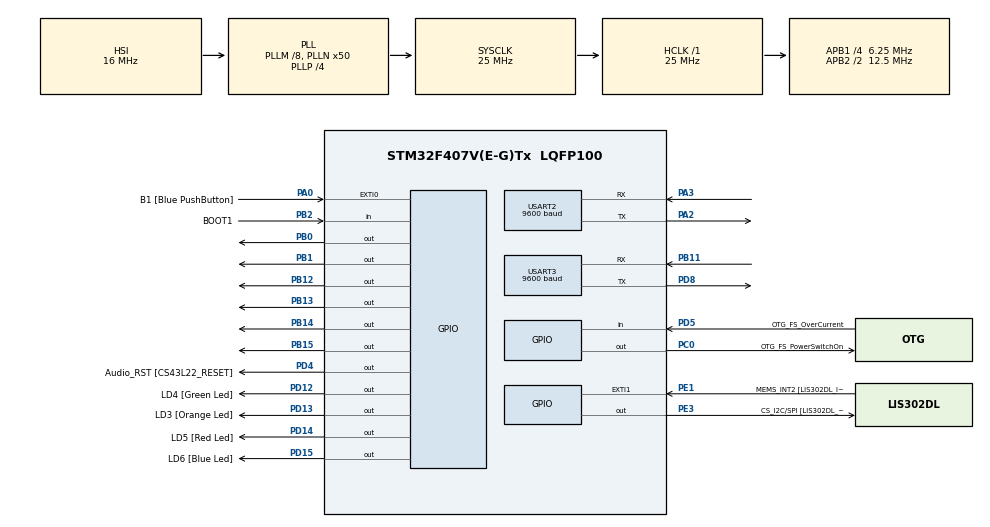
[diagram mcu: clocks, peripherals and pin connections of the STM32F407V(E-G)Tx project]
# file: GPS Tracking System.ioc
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Mcu.Family=STM32F4
Mcu.Name=STM32F407V(E-G)Tx
Mcu.Package=LQFP100
NVIC.PriorityGroup=NVIC_PRIORITYGROUP_0
NVIC.USART2_IRQn=true\:0\:0\:false\:false\:true\:true\:true\:true
PA0-WKUP.GPIO_Label=B1 [Blue PushButton]
PA0-WKUP.Signal=GPXTI0
PA10.GPIO_Label=OTG_FS_ID
PA10.GPIO_Mode=GPIO_MODE_AF_PP
PA10.GPIO_PuPd=GPIO_NOPULL
PA10.GPIO_Speed=GPIO_SPEED_FREQ_LOW
PA10.Signal=USB_OTG_FS_ID
PA11.GPIO_Label=OTG_FS_DM
PA11.GPIO_Mode=GPIO_MODE_AF_PP
PA11.GPIO_PuPd=GPIO_NOPULL
PA11.GPIO_Speed=GPIO_SPEED_FREQ_LOW
PA11.Signal=USB_OTG_FS_DM
PA12.GPIO_Label=OTG_FS_DP
PA12.GPIO_Mode=GPIO_MODE_AF_PP
PA12.GPIO_PuPd=GPIO_NOPULL
PA12.GPIO_Speed=GPIO_SPEED_FREQ_LOW
PA12.Signal=USB_OTG_FS_DP
PA13.GPIO_Label=SWDIO
PA13.Signal=SYS_JTMS-SWDIO
PA14.GPIO_Label=SWCLK
PA14.Signal=SYS_JTCK-SWCLK
PA2.Mode=Asynchronous
PA2.Signal=USART2_TX
PA3.Mode=Asynchronous
PA3.Signal=USART2_RX
PA4.GPIO_Label=I2S3_WS [CS43L22_LRCK]
PA4.GPIO_Mode=GPIO_MODE_AF_PP
PA4.GPIO_PuPd=GPIO_NOPULL
PA4.GPIO_Speed=GPIO_SPEED_FREQ_LOW
PA4.Signal=I2S3_WS
PA5.GPIO_Label=SPI1_SCK [LIS302DL_SCL/SPC]
PA5.GPIO_Mode=GPIO_MODE_AF_PP
PA5.GPIO_PuPd=GPIO_NOPULL
PA5.GPIO_Speed=GPIO_SPEED_FREQ_LOW
PA5.Signal=SPI1_SCK
PA6.GPIO_Label=SPI1_MISO [LIS302DL_SDO]
PA6.GPIO_Mode=GPIO_MODE_AF_PP
PA6.GPIO_PuPd=GPIO_NOPULL
PA6.GPIO_Speed=GPIO_SPEED_FREQ_LOW
PA6.Signal=SPI1_MISO
PA7.GPIO_Label=SPI1_MOSI [LIS302DL_SDA/SDI/SDO]
PA7.GPIO_Mode=GPIO_MODE_AF_PP
PA7.GPIO_PuPd=GPIO_NOPULL
PA7.GPIO_Speed=GPIO_SPEED_FREQ_LOW
PA7.Signal=SPI1_MOSI
PA9.GPIO_Label=VBUS_FS
PA9.GPIO_Mode=GPIO_MODE_INPUT
PA9.GPIO_PuPd=GPIO_NOPULL
PA9.Signal=USB_OTG_FS_VBUS
PB0.GPIO_ModeDefaultOutputPP=GPIO_MODE_OUTPUT_PP
PB0.Signal=GPIO_Output
PB1.Signal=GPIO_Output
PB10.GPIO_Label=CLK_IN [MP45DT02_CLK]
PB10.GPIO_Mode=GPIO_MODE_AF_PP
PB10.GPIO_PuPd=GPIO_NOPULL
PB10.GPIO_Speed=GPIO_SPEED_FREQ_LOW
PB10.Signal=I2S2_CK
PB11.Mode=Asynchronous
PB11.Signal=USART3_RX
PB12.Signal=GPIO_Output
PB13.Signal=GPIO_Output
PB14.Signal=GPIO_Output
PB15.Signal=GPIO_Output
PB2.GPIO_Label=BOOT1
PB2.GPIO_Mode=GPIO_MODE_INPUT
PB2.GPIO_PuPd=GPIO_NOPULL
PB2.Signal=GPIO_Input
PB3.GPIO_Label=SWO
PB3.Signal=SYS_JTDO-SWO
PB6.GPIO_Label=Audio_SCL [CS43L22_SCL]
PB6.GPIO_Mode=GPIO_MODE_AF_OD
PB6.GPIO_PuPd=GPIO_NOPULL
PB6.GPIO_Speed=GPIO_SPEED_FREQ_LOW
PB6.Signal=I2C1_SCL
PB9.GPIO_Label=Audio_SDA [CS43L22_SDA]
PB9.GPIO_Mode=GPIO_MODE_AF_OD
PB9.GPIO_PuPd=GPIO_NOPULL
PB9.GPIO_Speed=GPIO_SPEED_FREQ_LOW
PB9.Signal=I2C1_SDA
PC0.GPIO_Label=OTG_FS_PowerSwitchOn
PC0.GPIO_PuPd=GPIO_NOPULL
PC0.GPIO_Speed=GPIO_SPEED_FREQ_LOW
PC0.PinState=GPIO_PIN_SET
PC0.Signal=GPIO_Output
PC10.GPIO_Label=I2S3_SCK [CS43L22_SCLK]
PC10.GPIO_Mode=GPIO_MODE_AF_PP
PC10.GPIO_PuPd=GPIO_NOPULL
PC10.GPIO_Speed=GPIO_SPEED_FREQ_LOW
PC10.Signal=I2S3_CK
PC12.GPIO_Label=I2S3_SD [CS43L22_SDIN]
PC12.GPIO_Mode=GPIO_MODE_AF_PP
PC12.GPIO_PuPd=GPIO_NOPULL
PC12.GPIO_Speed=GPIO_SPEED_FREQ_LOW
PC12.Signal=I2S3_SD
PC14-OSC32_IN.GPIO_Label=PC14-OSC32_IN
PC14-OSC32_IN.Signal=RCC_OSC32_IN
PC15-OSC32_OUT.GPIO_Label=PC15-OSC32_OUT
PC15-OSC32_OUT.Signal=RCC_OSC32_OUT
PC3.GPIO_Label=PDM_OUT [MP45DT02_DOUT]
PC3.GPIO_Mode=GPIO_MODE_AF_PP
PC3.GPIO_PuPd=GPIO_NOPULL
PC3.GPIO_Speed=GPIO_SPEED_FREQ_LOW
PC3.Signal=I2S2_SD
PC7.GPIO_Label=I2S3_MCK [CS43L22_MCLK]
PC7.GPIO_Mode=GPIO_MODE_AF_PP
PC7.GPIO_PuPd=GPIO_NOPULL
PC7.GPIO_Speed=GPIO_SPEED_FREQ_LOW
PC7.Signal=I2S3_MCK
PD12.GPIO_Label=LD4 [Green Led]
PD12.GPIO_PuPd=GPIO_NOPULL
PD12.GPIO_Speed=GPIO_SPEED_FREQ_LOW
PD12.Signal=GPIO_Output
PD13.GPIO_Label=LD3 [Orange Led]
PD13.GPIO_PuPd=GPIO_NOPULL
PD13.GPIO_Speed=GPIO_SPEED_FREQ_LOW
PD13.Signal=GPIO_Output
PD14.GPIO_Label=LD5 [Red Led]
PD14.GPIO_PuPd=GPIO_NOPULL
PD14.GPIO_Speed=GPIO_SPEED_FREQ_LOW
PD14.Signal=GPIO_Output
PD15.GPIO_Label=LD6 [Blue Led]
PD15.GPIO_PuPd=GPIO_NOPULL
PD15.GPIO_Speed=GPIO_SPEED_FREQ_LOW
PD15.Signal=GPIO_Output
PD4.GPIO_Label=Audio_RST [CS43L22_RESET]
PD4.GPIO_PuPd=GPIO_NOPULL
PD4.GPIO_Speed=GPIO_SPEED_FREQ_LOW
PD4.Signal=GPIO_Output
PD5.GPIO_Label=OTG_FS_OverCurrent
PD5.GPIO_Mode=GPIO_MODE_INPUT
PD5.GPIO_PuPd=GPIO_NOPULL
PD5.Signal=GPIO_Input
PD8.Mode=Asynchronous
PD8.Signal=USART3_TX
PE1.GPIO_Label=MEMS_INT2 [LIS302DL_INT2]
PE1.GPIO_ModeDefaultEXTI=GPIO_MODE_EVT_RISING
PE1.GPIO_PuPd=GPIO_NOPULL
PE1.Signal=GPXTI1
PE3.GPIO_Label=CS_I2C/SPI [LIS302DL_CS_I2C/SPI]
PE3.GPIO_PuPd=GPIO_NOPULL
PE3.GPIO_Speed=GPIO_SPEED_FREQ_LOW
PE3.Signal=GPIO_Output
PH0-OSC_IN.GPIO_Label=PH0-OSC_IN
PH0-OSC_IN.Signal=RCC_OSC_IN
PH1-OSC_OUT.GPIO_Label=PH1-OSC_OUT
PH1-OSC_OUT.Signal=RCC_OSC_OUT
ProjectManager.HeapSize=0x200
ProjectManager.StackSize=0x400
ProjectManager.TargetToolchain=STM32CubeIDE
RCC.48MHZClocksFreq_Value=14285714.285714285
RCC.AHBFreq_Value=25000000
RCC.APB1CLKDivider=RCC_HCLK_DIV4
RCC.APB1Freq_Value=6250000
RCC.APB1TimFreq_Value=12500000
RCC.APB2CLKDivider=RCC_HCLK_DIV2
RCC.APB2Freq_Value=12500000
RCC.APB2TimFreq_Value=25000000
RCC.CortexFreq_Value=25000000
RCC.HCLKFreq_Value=25000000
RCC.HSE_VALUE=8000000
RCC.HSI_VALUE=16000000
RCC.LSE_VALUE=32768
RCC.PLLM=8
RCC.PLLN=50
RCC.PLLP=RCC_PLLP_DIV4
RCC.PLLQ=7
RCC.SYSCLKFreq_VALUE=25000000
RCC.SYSCLKSource=RCC_SYSCLKSOURCE_PLLCLK
RCC.VCOOutputFreq_Value=100000000
USART2.BaudRate=9600
USART2.VirtualMode=VM_ASYNC
USART3.BaudRate=9600
USART3.VirtualMode=VM_ASYNC
board=STM32F407G-DISC1

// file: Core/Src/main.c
/* USER CODE BEGIN Header */
/**
  ******************************************************************************
  * @file           : main.c
  * @brief          : Main program body
  ******************************************************************************
  * @attention
  *
  * Copyright (c) 2026 STMicroelectronics.
  * All rights reserved.
  *
  * This software is licensed under terms that can be found in the LICENSE file
  * in the root directory of this software component.
  * If no LICENSE file comes with this software, it is provided AS-IS.
  *
  ******************************************************************************
  */
/* USER CODE END Header */
#include "main.h"

/* USER CODE BEGIN Includes */
#include "gps.h"
#include "lcd.h"
#include <stdio.h>
#include <string.h>
/* USER CODE END Includes */

UART_HandleTypeDef huart2;
UART_HandleTypeDef huart3;

/* USER CODE BEGIN PV */
GPS_Data_t gps;
/* USER CODE END PV */

void SystemClock_Config(void);
static void MX_GPIO_Init(void);
static void MX_USART2_UART_Init(void);
static void MX_USART3_UART_Init(void);

int main(void)
{

  /* MCU Configuration--------------------------------------------------------*/

  /* Reset of all peripherals, Initializes the Flash interface and the Systick. */
 HAL_Init();

  /* Configure the system clock */
  SystemClock_Config();

  /* Initialize all configured peripherals */
  MX_GPIO_Init();
  MX_USART2_UART_Init();
  MX_USART3_UART_Init();
  /* USER CODE BEGIN 2 */
  LCD_Init();
  GPS_Init(&huart2);

  char buffer[32];
  /* USER CODE END 2 */

  /* Infinite loop */
  /* USER CODE BEGIN WHILE */
  while (1)
  {
	  if (GPS_GetData(&gps)) {
		  LCD_SendCommand(0x01);
		      HAL_Delay(5);

		      LCD_SetCursor(0,0);
		      sprintf(buffer, "Lat: %.4f   ", gps.latitude);
		      LCD_Print(buffer);

		      LCD_SetCursor(1,0);
		      sprintf(buffer, "Lon: %.4f   ", gps.longitude);
		      LCD_Print(buffer);

		      // Send to ESP
		      sprintf(buffer, "%.6f,%.6f\n", gps.latitude, gps.longitude);
		      HAL_UART_Transmit(&huart3, (uint8_t*)buffer, strlen(buffer), 100);

		      HAL_Delay(1000);
	  	  }
	  }
    /* USER CODE END WHILE */

  }

void SystemClock_Config(void)
{
  RCC_OscInitTypeDef RCC_OscInitStruct = {0};
  RCC_ClkInitTypeDef RCC_ClkInitStruct = {0};

  /** Configure the main internal regulator output voltage
  */
  __HAL_RCC_PWR_CLK_ENABLE();
  __HAL_PWR_VOLTAGESCALING_CONFIG(PWR_REGULATOR_VOLTAGE_SCALE1);

  /** Initializes the RCC Oscillators according to the specified parameters
  * in the RCC_OscInitTypeDef structure.
  */
  RCC_OscInitStruct.OscillatorType = RCC_OSCILLATORTYPE_HSI;
  RCC_OscInitStruct.HSIState = RCC_HSI_ON;
  RCC_OscInitStruct.HSICalibrationValue = RCC_HSICALIBRATION_DEFAULT;
  RCC_OscInitStruct.PLL.PLLState = RCC_PLL_ON;
  RCC_OscInitStruct.PLL.PLLSource = RCC_PLLSOURCE_HSI;
  RCC_OscInitStruct.PLL.PLLM = 8;
  RCC_OscInitStruct.PLL.PLLN = 50;
  RCC_OscInitStruct.PLL.PLLP = RCC_PLLP_DIV4;
  RCC_OscInitStruct.PLL.PLLQ = 7;
  if (HAL_RCC_OscConfig(&RCC_OscInitStruct) != HAL_OK)
  {
    Error_Handler();
  }

  /** Initializes the CPU, AHB and APB buses clocks
  */
  RCC_ClkInitStruct.ClockType = RCC_CLOCKTYPE_HCLK|RCC_CLOCKTYPE_SYSCLK
                              |RCC_CLOCKTYPE_PCLK1|RCC_CLOCKTYPE_PCLK2;
  RCC_ClkInitStruct.SYSCLKSource = RCC_SYSCLKSOURCE_PLLCLK;
  RCC_ClkInitStruct.AHBCLKDivider = RCC_SYSCLK_DIV1;
  RCC_ClkInitStruct.APB1CLKDivider = RCC_HCLK_DIV4;
  RCC_ClkInitStruct.APB2CLKDivider = RCC_HCLK_DIV2;

  if (HAL_RCC_ClockConfig(&RCC_ClkInitStruct, FLASH_LATENCY_0) != HAL_OK)
  {
    Error_Handler();
  }
}

static void MX_USART2_UART_Init(void)
{

  huart2.Instance = USART2;
  huart2.Init.BaudRate = 9600;
  huart2.Init.WordLength = UART_WORDLENGTH_8B;
  huart2.Init.StopBits = UART_STOPBITS_1;
  huart2.Init.Parity = UART_PARITY_NONE;
  huart2.Init.Mode = UART_MODE_TX_RX;
  huart2.Init.HwFlowCtl = UART_HWCONTROL_NONE;
  huart2.Init.OverSampling = UART_OVERSAMPLING_16;
  if (HAL_UART_Init(&huart2) != HAL_OK)
  {
    Error_Handler();
  }

}

static void MX_USART3_UART_Init(void)
{

  huart3.Instance = USART3;
  huart3.Init.BaudRate = 9600;
  huart3.Init.WordLength = UART_WORDLENGTH_8B;
  huart3.Init.StopBits = UART_STOPBITS_1;
  huart3.Init.Parity = UART_PARITY_NONE;
  huart3.Init.Mode = UART_MODE_TX_RX;
  huart3.Init.HwFlowCtl = UART_HWCONTROL_NONE;
  huart3.Init.OverSampling = UART_OVERSAMPLING_16;
  if (HAL_UART_Init(&huart3) != HAL_OK)
  {
    Error_Handler();
  }

}

static void MX_GPIO_Init(void)
{
  GPIO_InitTypeDef GPIO_InitStruct = {0};

  /* GPIO Ports Clock Enable */
  __HAL_RCC_GPIOE_CLK_ENABLE();
  __HAL_RCC_GPIOC_CLK_ENABLE();
  __HAL_RCC_GPIOH_CLK_ENABLE();
  __HAL_RCC_GPIOA_CLK_ENABLE();
  __HAL_RCC_GPIOB_CLK_ENABLE();
  __HAL_RCC_GPIOD_CLK_ENABLE();

  /*Configure GPIO pin Output Level */
  HAL_GPIO_WritePin(CS_I2C_SPI_GPIO_Port, CS_I2C_SPI_Pin, GPIO_PIN_RESET);

  /*Configure GPIO pin Output Level */
  HAL_GPIO_WritePin(OTG_FS_PowerSwitchOn_GPIO_Port, OTG_FS_PowerSwitchOn_Pin, GPIO_PIN_SET);

  /*Configure GPIO pin Output Level */
  HAL_GPIO_WritePin(GPIOB, GPIO_PIN_0|GPIO_PIN_1|GPIO_PIN_12|GPIO_PIN_13
                          |GPIO_PIN_14|GPIO_PIN_15, GPIO_PIN_RESET);

  /*Configure GPIO pin Output Level */
  HAL_GPIO_WritePin(GPIOD, LD4_Pin|LD3_Pin|LD5_Pin|LD6_Pin
                          |Audio_RST_Pin, GPIO_PIN_RESET);

  /*Configure GPIO pin : CS_I2C_SPI_Pin */
  GPIO_InitStruct.Pin = CS_I2C_SPI_Pin;
  GPIO_InitStruct.Mode = GPIO_MODE_OUTPUT_PP;
  GPIO_InitStruct.Pull = GPIO_NOPULL;
  GPIO_InitStruct.Speed = GPIO_SPEED_FREQ_LOW;
  HAL_GPIO_Init(CS_I2C_SPI_GPIO_Port, &GPIO_InitStruct);

  /*Configure GPIO pin : OTG_FS_PowerSwitchOn_Pin */
  GPIO_InitStruct.Pin = OTG_FS_PowerSwitchOn_Pin;
  GPIO_InitStruct.Mode = GPIO_MODE_OUTPUT_PP;
  GPIO_InitStruct.Pull = GPIO_NOPULL;
  GPIO_InitStruct.Speed = GPIO_SPEED_FREQ_LOW;
  HAL_GPIO_Init(OTG_FS_PowerSwitchOn_GPIO_Port, &GPIO_InitStruct);

  /*Configure GPIO pin : PDM_OUT_Pin */
  GPIO_InitStruct.Pin = PDM_OUT_Pin;
  GPIO_InitStruct.Mode = GPIO_MODE_AF_PP;
  GPIO_InitStruct.Pull = GPIO_NOPULL;
  GPIO_InitStruct.Speed = GPIO_SPEED_FREQ_LOW;
  GPIO_InitStruct.Alternate = GPIO_AF5_SPI2;
  HAL_GPIO_Init(PDM_OUT_GPIO_Port, &GPIO_InitStruct);

  /*Configure GPIO pin : B1_Pin */
  GPIO_InitStruct.Pin = B1_Pin;
  GPIO_InitStruct.Mode = GPIO_MODE_IT_RISING;
  GPIO_InitStruct.Pull = GPIO_NOPULL;
  HAL_GPIO_Init(B1_GPIO_Port, &GPIO_InitStruct);

  /*Configure GPIO pin : I2S3_WS_Pin */
  GPIO_InitStruct.Pin = I2S3_WS_Pin;
  GPIO_InitStruct.Mode = GPIO_MODE_AF_PP;
  GPIO_InitStruct.Pull = GPIO_NOPULL;
  GPIO_InitStruct.Speed = GPIO_SPEED_FREQ_LOW;
  GPIO_InitStruct.Alternate = GPIO_AF6_SPI3;
  HAL_GPIO_Init(I2S3_WS_GPIO_Port, &GPIO_InitStruct);

  /*Configure GPIO pins : SPI1_SCK_Pin SPI1_MISO_Pin SPI1_MOSI_Pin */
  GPIO_InitStruct.Pin = SPI1_SCK_Pin|SPI1_MISO_Pin|SPI1_MOSI_Pin;
  GPIO_InitStruct.Mode = GPIO_MODE_AF_PP;
  GPIO_InitStruct.Pull = GPIO_NOPULL;
  GPIO_InitStruct.Speed = GPIO_SPEED_FREQ_LOW;
  GPIO_InitStruct.Alternate = GPIO_AF5_SPI1;
  HAL_GPIO_Init(GPIOA, &GPIO_InitStruct);

  /*Configure GPIO pins : PB0 PB1 PB12 PB13
                           PB14 PB15 */
  GPIO_InitStruct.Pin = GPIO_PIN_0|GPIO_PIN_1|GPIO_PIN_12|GPIO_PIN_13
                          |GPIO_PIN_14|GPIO_PIN_15;
  GPIO_InitStruct.Mode = GPIO_MODE_OUTPUT_PP;
  GPIO_InitStruct.Pull = GPIO_NOPULL;
  GPIO_InitStruct.Speed = GPIO_SPEED_FREQ_LOW;
  HAL_GPIO_Init(GPIOB, &GPIO_InitStruct);

  /*Configure GPIO pin : BOOT1_Pin */
  GPIO_InitStruct.Pin = BOOT1_Pin;
  GPIO_InitStruct.Mode = GPIO_MODE_INPUT;
  GPIO_InitStruct.Pull = GPIO_NOPULL;
  HAL_GPIO_Init(BOOT1_GPIO_Port, &GPIO_InitStruct);

  /*Configure GPIO pin : CLK_IN_Pin */
  GPIO_InitStruct.Pin = CLK_IN_Pin;
  GPIO_InitStruct.Mode = GPIO_MODE_AF_PP;
  GPIO_InitStruct.Pull = GPIO_NOPULL;
  GPIO_InitStruct.Speed = GPIO_SPEED_FREQ_LOW;
  GPIO_InitStruct.Alternate = GPIO_AF5_SPI2;
  HAL_GPIO_Init(CLK_IN_GPIO_Port, &GPIO_InitStruct);

  /*Configure GPIO pins : LD4_Pin LD3_Pin LD5_Pin LD6_Pin
                           Audio_RST_Pin */
  GPIO_InitStruct.Pin = LD4_Pin|LD3_Pin|LD5_Pin|LD6_Pin
                          |Audio_RST_Pin;
  GPIO_InitStruct.Mode = GPIO_MODE_OUTPUT_PP;
  GPIO_InitStruct.Pull = GPIO_NOPULL;
  GPIO_InitStruct.Speed = GPIO_SPEED_FREQ_LOW;
  HAL_GPIO_Init(GPIOD, &GPIO_InitStruct);

  /*Configure GPIO pins : I2S3_MCK_Pin I2S3_SCK_Pin I2S3_SD_Pin */
  GPIO_InitStruct.Pin = I2S3_MCK_Pin|I2S3_SCK_Pin|I2S3_SD_Pin;
  GPIO_InitStruct.Mode = GPIO_MODE_AF_PP;
  GPIO_InitStruct.Pull = GPIO_NOPULL;
  GPIO_InitStruct.Speed = GPIO_SPEED_FREQ_LOW;
  GPIO_InitStruct.Alternate = GPIO_AF6_SPI3;
  HAL_GPIO_Init(GPIOC, &GPIO_InitStruct);

  /*Configure GPIO pin : VBUS_FS_Pin */
  GPIO_InitStruct.Pin = VBUS_FS_Pin;
  GPIO_InitStruct.Mode = GPIO_MODE_INPUT;
  GPIO_InitStruct.Pull = GPIO_NOPULL;
  HAL_GPIO_Init(VBUS_FS_GPIO_Port, &GPIO_InitStruct);

  /*Configure GPIO pins : OTG_FS_ID_Pin OTG_FS_DM_Pin OTG_FS_DP_Pin */
  GPIO_InitStruct.Pin = OTG_FS_ID_Pin|OTG_FS_DM_Pin|OTG_FS_DP_Pin;
  GPIO_InitStruct.Mode = GPIO_MODE_AF_PP;
  GPIO_InitStruct.Pull = GPIO_NOPULL;
  GPIO_InitStruct.Speed = GPIO_SPEED_FREQ_LOW;
  GPIO_InitStruct.Alternate = GPIO_AF10_OTG_FS;
  HAL_GPIO_Init(GPIOA, &GPIO_InitStruct);

  /*Configure GPIO pin : OTG_FS_OverCurrent_Pin */
  GPIO_InitStruct.Pin = OTG_FS_OverCurrent_Pin;
  GPIO_InitStruct.Mode = GPIO_MODE_INPUT;
  GPIO_InitStruct.Pull = GPIO_NOPULL;
  HAL_GPIO_Init(OTG_FS_OverCurrent_GPIO_Port, &GPIO_InitStruct);

  /*Configure GPIO pins : Audio_SCL_Pin Audio_SDA_Pin */
  GPIO_InitStruct.Pin = Audio_SCL_Pin|Audio_SDA_Pin;
  GPIO_InitStruct.Mode = GPIO_MODE_AF_OD;
  GPIO_InitStruct.Pull = GPIO_NOPULL;
  GPIO_InitStruct.Speed = GPIO_SPEED_FREQ_LOW;
  GPIO_InitStruct.Alternate = GPIO_AF4_I2C1;
  HAL_GPIO_Init(GPIOB, &GPIO_InitStruct);

  /*Configure GPIO pin : MEMS_INT2_Pin */
  GPIO_InitStruct.Pin = MEMS_INT2_Pin;
  GPIO_InitStruct.Mode = GPIO_MODE_EVT_RISING;
  GPIO_InitStruct.Pull = GPIO_NOPULL;
  HAL_GPIO_Init(MEMS_INT2_GPIO_Port, &GPIO_InitStruct);

}

void Error_Handler(void)
{
  __disable_irq();
  while (1)
  {
  }
}
